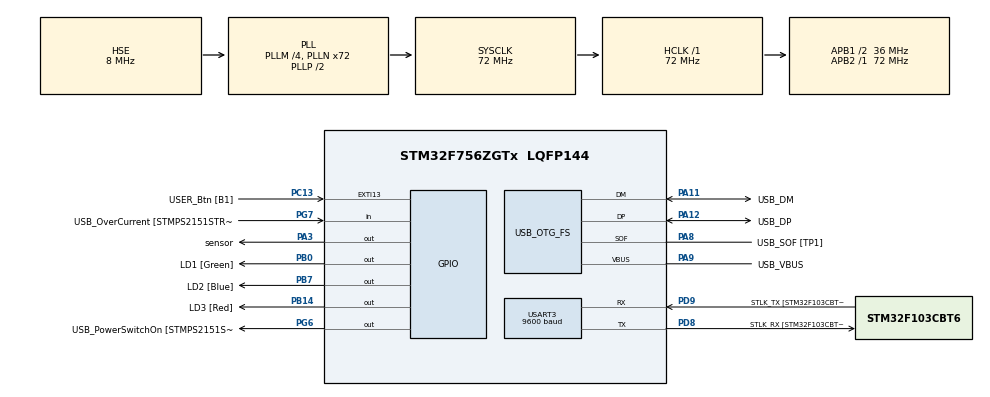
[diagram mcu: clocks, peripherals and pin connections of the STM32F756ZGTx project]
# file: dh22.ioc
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Mcu.Family=STM32F7
Mcu.Name=STM32F756ZGTx
Mcu.Package=LQFP144
NVIC.PriorityGroup=NVIC_PRIORITYGROUP_4
PA1.GPIO_Label=RMII_REF_CLK [LAN8742A-CZ-TR_REFCLK0]
PA1.Signal=ETH_REF_CLK
PA10.GPIO_Label=USB_ID
PA10.Signal=USB_OTG_FS_ID
PA11.GPIO_Label=USB_DM
PA11.Mode=Device_Only
PA11.Signal=USB_OTG_FS_DM
PA12.GPIO_Label=USB_DP
PA12.Mode=Device_Only
PA12.Signal=USB_OTG_FS_DP
PA13.GPIO_Label=TMS
PA13.Mode=Serial_Wire
PA13.Signal=SYS_JTMS-SWDIO
PA14.GPIO_Label=TCK
PA14.Mode=Serial_Wire
PA14.Signal=SYS_JTCK-SWCLK
PA2.GPIO_Label=RMII_MDIO [LAN8742A-CZ-TR_MDIO]
PA2.Signal=ETH_MDIO
PA3.GPIO_Label=sensor
PA3.Signal=GPIO_Output
PA7.GPIO_Label=RMII_CRS_DV [LAN8742A-CZ-TR_CRS_DV]
PA7.Signal=ETH_CRS_DV
PA8.GPIO_Label=USB_SOF [TP1]
PA8.Mode=Activate_SOF_FS
PA8.Signal=USB_OTG_FS_SOF
PA9.GPIO_Label=USB_VBUS
PA9.Mode=Activate_VBUS
PA9.Signal=USB_OTG_FS_VBUS
PB0.GPIO_Label=LD1 [Green]
PB0.Signal=GPIO_Output
PB13.GPIO_Label=RMII_TXD1 [LAN8742A-CZ-TR_TXD1]
PB13.Signal=ETH_TXD1
PB14.GPIO_Label=LD3 [Red]
PB14.Signal=GPIO_Output
PB3.GPIO_Label=SW0
PB3.Signal=SYS_JTDO-SWO
PB7.GPIO_Label=LD2 [Blue]
PB7.Signal=GPIO_Output
PC1.GPIO_Label=RMII_MDC [LAN8742A-CZ-TR_MDC]
PC1.Signal=ETH_MDC
PC13.GPIO_Label=USER_Btn [B1]
PC13.Signal=GPXTI13
PC14/OSC32_IN.Mode=LSE-External-Oscillator
PC14/OSC32_IN.Signal=RCC_OSC32_IN
PC15/OSC32_OUT.Mode=LSE-External-Oscillator
PC15/OSC32_OUT.Signal=RCC_OSC32_OUT
PC4.GPIO_Label=RMII_RXD0 [LAN8742A-CZ-TR_RXD0]
PC4.Signal=ETH_RXD0
PC5.GPIO_Label=RMII_RXD1 [LAN8742A-CZ-TR_RXD1]
PC5.Signal=ETH_RXD1
PD8.GPIO_Label=STLK_RX [STM32F103CBT6_PA3]
PD8.Mode=Asynchronous
PD8.Signal=USART3_TX
PD9.GPIO_Label=STLK_TX [STM32F103CBT6_PA2]
PD9.Mode=Asynchronous
PD9.Signal=USART3_RX
PG11.GPIO_Label=RMII_TX_EN [LAN8742A-CZ-TR_TXEN]
PG11.Signal=ETH_TX_EN
PG13.GPIO_Label=RMII_TXD0 [LAN8742A-CZ-TR_TXD0]
PG13.Signal=ETH_TXD0
PG6.GPIO_Label=USB_PowerSwitchOn [STMPS2151STR_EN]
PG6.Signal=GPIO_Output
PG7.GPIO_Label=USB_OverCurrent [STMPS2151STR_FAULT]
PG7.Signal=GPIO_Input
PH0/OSC_IN.GPIO_Label=MCO [STM32F103CBT6_PA8]
PH0/OSC_IN.Mode=HSE-External-Clock-Source
PH0/OSC_IN.Signal=RCC_OSC_IN
PH1/OSC_OUT.Mode=HSE-External-Clock-Source
PH1/OSC_OUT.Signal=RCC_OSC_OUT
ProjectManager.HeapSize=0x200
ProjectManager.StackSize=0x400
ProjectManager.TargetToolchain=STM32CubeIDE
RCC.48MHZClocksFreq_Value=24000000
RCC.AHBFreq_Value=72000000
RCC.APB1CLKDivider=RCC_HCLK_DIV2
RCC.APB1Freq_Value=36000000
RCC.APB1TimFreq_Value=72000000
RCC.APB2Freq_Value=72000000
RCC.APB2TimFreq_Value=72000000
RCC.CortexFreq_Value=72000000
RCC.HCLKFreq_Value=72000000
RCC.HSE_VALUE=8000000
RCC.HSI_VALUE=16000000
RCC.PLLM=4
RCC.PLLMUL=RCC_PLL_MUL9
RCC.PLLN=72
RCC.PLLQ=3
RCC.PRESCALERUSB=RCC_USBCLKSOURCE_PLL_DIV1_5
RCC.SYSCLKFreq_VALUE=72000000
RCC.SYSCLKSource=RCC_SYSCLKSOURCE_PLLCLK
RCC.SYSCLKSourceVirtual=RCC_SYSCLKSOURCE_PLLCLK
RCC.USBFreq_Value=48000000
RCC.VCOOutputFreq_Value=144000000
TIM2.Period=0xffff-1
TIM2.Prescaler=71
USART3.BaudRate=9600
USART3.VirtualMode-Asynchronous=VM_ASYNC
USB_OTG_FS.VirtualMode=Device_Only
VP_TIM2_VS_ClockSourceINT.Mode=Internal
board=NUCLEO-F756ZG

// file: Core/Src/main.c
/* USER CODE BEGIN Header */
/**
  ******************************************************************************
  * @file           : main.c
  * @brief          : Main program body
  ******************************************************************************
  * @attention
  *
  * Copyright (c) 2022 STMicroelectronics.
  * All rights reserved.
  *
  * This software is licensed under terms that can be found in the LICENSE file
  * in the root directory of this software component.
  * If no LICENSE file comes with this software, it is provided AS-IS.
  *
  ******************************************************************************
  */
/* USER CODE END Header */
#include "main.h"
#include "tim.h"
#include "usart.h"
#include "usb_otg.h"
#include "gpio.h"

/* USER CODE BEGIN PV */
uint8_t Rh_byte1, Rh_byte2, Temp_byte1, Temp_byte2;
uint16_t SUM, RH, TEMP;

float Temperature = 0;
float Humidity = 0;
uint8_t Presence = 0;
/* USER CODE END PV */

void SystemClock_Config(void);

/* USER CODE BEGIN 0 */
void delay (uint16_t time)
{
	__HAL_TIM_SET_COUNTER(&htim2,0);
	while(__HAL_TIM_GET_COUNTER(&htim2)<time);

}
void Set_Pin_Output (GPIO_TypeDef *GPIOx, uint16_t GPIO_Pin)
{
	GPIO_InitTypeDef GPIO_InitStruct = {0};
	GPIO_InitStruct.Pin = GPIO_Pin;
	GPIO_InitStruct.Mode = GPIO_MODE_OUTPUT_PP;
	GPIO_InitStruct.Speed = GPIO_SPEED_FREQ_LOW;
	HAL_GPIO_Init(GPIOx, &GPIO_InitStruct);
}

void Set_Pin_Input (GPIO_TypeDef *GPIOx, uint16_t GPIO_Pin)
{
	GPIO_InitTypeDef GPIO_InitStruct = {0};
	GPIO_InitStruct.Pin = GPIO_Pin;
	GPIO_InitStruct.Mode = GPIO_MODE_INPUT;
	GPIO_InitStruct.Pull = GPIO_NOPULL;
	HAL_GPIO_Init(GPIOx, &GPIO_InitStruct);
}
#define DHT22_PORT sensor_GPIO_Port
#define DHT22_PIN sensor_Pin

void DHT22_Start (void)
{
	Set_Pin_Output(DHT22_PORT, DHT22_PIN); // set the pin as output
	HAL_GPIO_WritePin (DHT22_PORT, DHT22_PIN, 0);   // pull the pin low
	delay(1200);   // wait for > 1ms

	HAL_GPIO_WritePin (DHT22_PORT, DHT22_PIN, 1);   // pull the pin high
	delay (20);   // wait for 30us

	Set_Pin_Input(DHT22_PORT, DHT22_PIN);   // set as input
}

uint8_t DHT22_Check_Response (void)
{
	Set_Pin_Input(DHT22_PORT, DHT22_PIN);   // set as input
	uint8_t Response = 0;
	delay (40);  // wait for 40us
	if (!(HAL_GPIO_ReadPin (DHT22_PORT, DHT22_PIN))) // if the pin is low
	{
		delay (80);   // wait for 80us

		if ((HAL_GPIO_ReadPin (DHT22_PORT, DHT22_PIN))) Response = 1;  // if the pin is high, response is ok
		else Response = -1;
	}

	while ((HAL_GPIO_ReadPin (DHT22_PORT, DHT22_PIN)));   // wait for the pin to go low
	return Response;
}

uint8_t DHT22_Read (void)
{
	uint8_t i,j;
	for (j=0;j<8;j++)
	{
		while (!(HAL_GPIO_ReadPin (DHT22_PORT, DHT22_PIN)));   // wait for the pin to go high
		delay (40);   // wait for 40 us

		if (!(HAL_GPIO_ReadPin (DHT22_PORT, DHT22_PIN)))   // if the pin is low
		{
			i&= ~(1<<(7-j));   // write 0
		}
		else i|= (1<<(7-j));  // if the pin is high, write 1
		while ((HAL_GPIO_ReadPin (DHT22_PORT, DHT22_PIN)));  // wait for the pin to go low
	}

	return i;
}

/* USER CODE END 0 */

int main(void)
{

  /* MCU Configuration--------------------------------------------------------*/

  /* Reset of all peripherals, Initializes the Flash interface and the Systick. */
  HAL_Init();

  /* Configure the system clock */
  SystemClock_Config();

  /* Initialize all configured peripherals */
  MX_GPIO_Init();
  MX_USART3_UART_Init();
  MX_USB_OTG_FS_PCD_Init();
  MX_TIM2_Init();
  /* USER CODE BEGIN 2 */
  HAL_TIM_Base_Start(&htim2);
  /* USER CODE END 2 */

  /* Infinite loop */
  /* USER CODE BEGIN WHILE */
  while (1)
  {
	  	  DHT22_Start();
	  	  Presence = DHT22_Check_Response();
	  	  Rh_byte1 = DHT22_Read ();
	        Rh_byte2 = DHT22_Read ();
	  	  Temp_byte1 = DHT22_Read ();
	  	  Temp_byte2 = DHT22_Read ();
	  	  SUM = DHT22_Read();

	  	  TEMP = ((Temp_byte1<<8)|Temp_byte2);
	  	  RH = ((Rh_byte1<<8)|Rh_byte2);

	  	  Temperature = (float) (TEMP/10.0);
	  	  Humidity = (float) (RH/10.0);
	  	  HAL_Delay(3000);
    /* USER CODE END WHILE */

  }
}

void SystemClock_Config(void)
{
  RCC_OscInitTypeDef RCC_OscInitStruct = {0};
  RCC_ClkInitTypeDef RCC_ClkInitStruct = {0};

  /** Configure LSE Drive Capability
  */
  HAL_PWR_EnableBkUpAccess();

  /** Configure the main internal regulator output voltage
  */
  __HAL_RCC_PWR_CLK_ENABLE();
  __HAL_PWR_VOLTAGESCALING_CONFIG(PWR_REGULATOR_VOLTAGE_SCALE3);

  /** Initializes the RCC Oscillators according to the specified parameters
  * in the RCC_OscInitTypeDef structure.
  */
  RCC_OscInitStruct.OscillatorType = RCC_OSCILLATORTYPE_HSE;
  RCC_OscInitStruct.HSEState = RCC_HSE_BYPASS;
  RCC_OscInitStruct.PLL.PLLState = RCC_PLL_ON;
  RCC_OscInitStruct.PLL.PLLSource = RCC_PLLSOURCE_HSE;
  RCC_OscInitStruct.PLL.PLLM = 4;
  RCC_OscInitStruct.PLL.PLLN = 72;
  RCC_OscInitStruct.PLL.PLLP = RCC_PLLP_DIV2;
  RCC_OscInitStruct.PLL.PLLQ = 3;
  if (HAL_RCC_OscConfig(&RCC_OscInitStruct) != HAL_OK)
  {
    Error_Handler();
  }

  /** Initializes the CPU, AHB and APB buses clocks
  */
  RCC_ClkInitStruct.ClockType = RCC_CLOCKTYPE_HCLK|RCC_CLOCKTYPE_SYSCLK
                              |RCC_CLOCKTYPE_PCLK1|RCC_CLOCKTYPE_PCLK2;
  RCC_ClkInitStruct.SYSCLKSource = RCC_SYSCLKSOURCE_PLLCLK;
  RCC_ClkInitStruct.AHBCLKDivider = RCC_SYSCLK_DIV1;
  RCC_ClkInitStruct.APB1CLKDivider = RCC_HCLK_DIV2;
  RCC_ClkInitStruct.APB2CLKDivider = RCC_HCLK_DIV1;

  if (HAL_RCC_ClockConfig(&RCC_ClkInitStruct, FLASH_LATENCY_2) != HAL_OK)
  {
    Error_Handler();
  }
}

void Error_Handler(void)
{
  __disable_irq();
  while (1)
  {
  }
}
